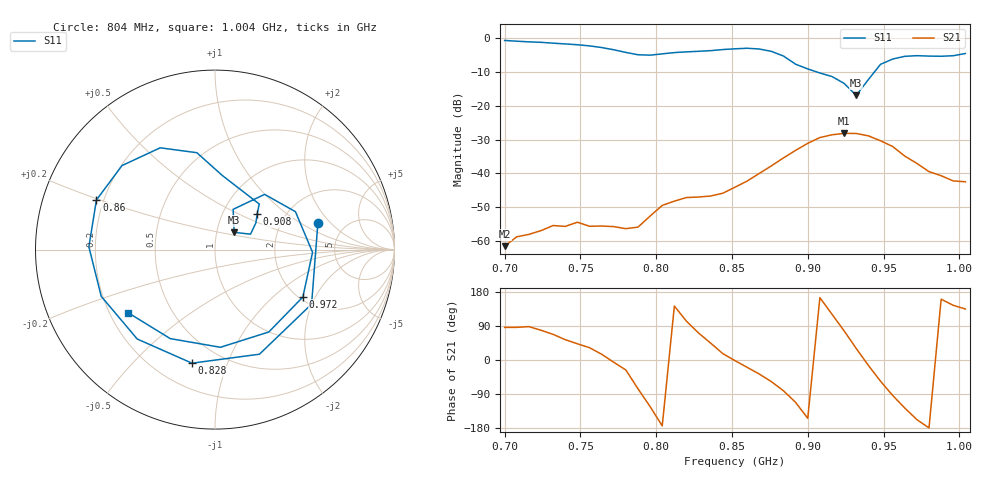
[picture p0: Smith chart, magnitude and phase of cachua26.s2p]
# Hz S RI R 50
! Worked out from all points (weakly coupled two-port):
!   39 points, 700 MHz to 1.004 GHz, reference 50 ohm
!   highest |S21| = -28.11 dB at 924 MHz (marker M1); lowest = -61.5 dB at 700 MHz (marker M2)
!   lowest |S11| = -16.9 dB at 932 MHz (marker M3), VSWR 1.34, Z = 60.7 + j11.9 ohm
!   |S11| at or under -10 dB: 906.5 MHz to 943.9 MHz (37.37 MHz wide, 4.04 % of centre)
!   S12 and S22 are empty: the file has one direction only
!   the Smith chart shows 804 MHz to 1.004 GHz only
!   S11 on the Smith chart (normalised r, x): 804 MHz: 3.19, +1.43; 828 MHz: 0.35, -0.76; 860 MHz: 0.17, +0.20; 908 MHz: 1.45, +0.64; 972 MHz: 2.09, -1.60; 1.004 GHz: 0.28, -0.30
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7e8  0.7677 0.5327  5.82e-05 0.000836  0 0  0 0
7.24e8  0.8368 -0.2614  0.000282 0.0014  0 0  0 0
7.4e8  0.4435 -0.7024  0.000973 0.00133  0 0  0 0
7.56e8  -0.1978 -0.7512  0.00139 0.000889  0 0  0 0
7.72e8  -0.6548 -0.1851  0.00163 -0.000169  0 0  0 0
7.8e8  -0.5766 0.2319  0.00136 -0.000678  0 0  0 0
7.88e8  -0.2228 0.5288  0.000388 -0.00156  0 0  0 0
7.96e8  0.2593 0.5032  -0.00127 -0.00197  0 0  0 0
8.04e8  0.5731 0.146  -0.00335 -0.00036  0 0  0 0
8.2e8  0.2477 -0.5828  -0.000933 0.0043  0 0  0 0
8.28e8  -0.1281 -0.6328  0.00145 0.00424  0 0  0 0
8.52e8  -0.7026 0.0161  0.00626 -0.000187  0 0  0 0
8.6e8  -0.6605 0.2767  0.00729 -0.00255  0 0  0 0
8.76e8  -0.3055 0.5671  0.00705 -0.0109  0 0  0 0
9e8  0.2465 0.254  -0.0251 -0.0123  0 0  0 0
9.08e8  0.2351 0.199  -0.0329 0.00908  0 0  0 0
9.24e8  0.198 0.086  0.00898 0.0383  0 0  0 0
9.32e8  0.1069 0.096  0.0338 0.0198  0 0  0 0
9.56e8  0.4482 0.2112  -0.00152 -0.0251  0 0  0 0
9.72e8  0.4895 -0.2641  -0.013 -0.00543  0 0  0 0
9.88e8  0.0302 -0.5443  -0.00874 0.0031  0 0  0 0
1.004e9  -0.4857 -0.3507  -0.00529 0.00538  0 0  0 0
